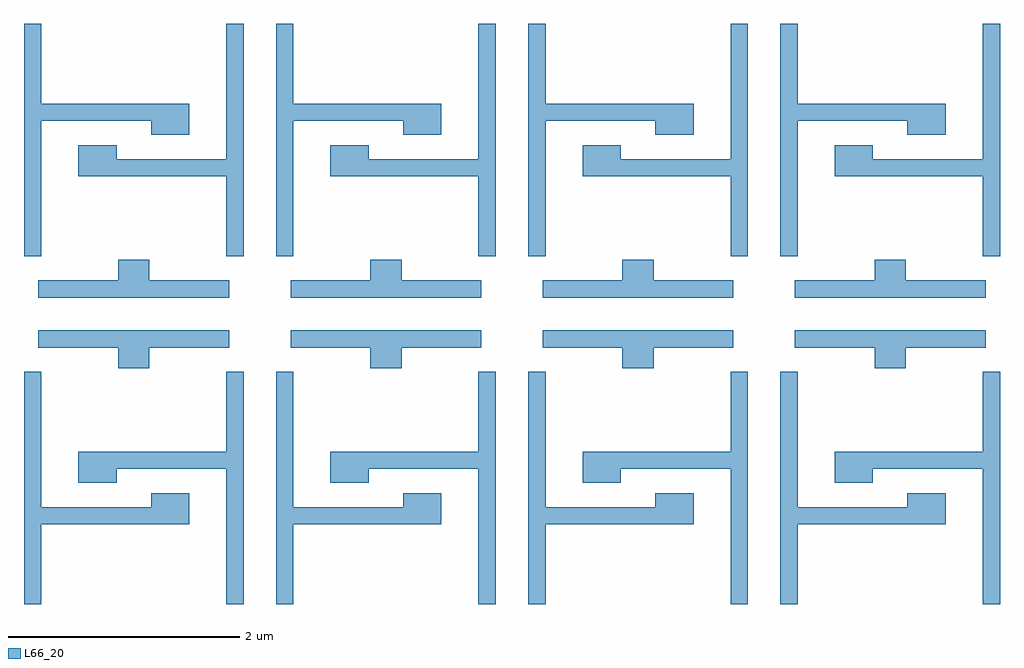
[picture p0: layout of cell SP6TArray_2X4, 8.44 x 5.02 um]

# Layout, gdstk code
import gdstk
lib = gdstk.Library(unit=1e-6, precision=1e-09)
def P(c, l, *ps):  # polygons
    for p in ps: c.add(gdstk.Polygon(p, *l))
L66_20 = (66, 20)

sp6tcell = lib.new_cell('SP6TCell')
P(sp6tcell, L66_20, [(1.89,0.5),(1.89,1.19),(0.61,1.19),(0.61,1.46),(0.94,1.46),(0.94,1.34),(1.89,1.34),(1.89,2.51),(2.04,2.51),(2.04,0.5)],
  [(0.14,0.5),(0.14,2.51),(0.29,2.51),(0.29,1.82),(1.57,1.82),(1.57,1.55),(1.24,1.55),(1.24,1.67),(0.29,1.67),(0.29,0.5)],
  [(0.265,0.14),(0.265,0.29),(0.955,0.29),(0.955,0.47),(1.225,0.47),(1.225,0.29),(1.915,0.29),(1.915,0.14)])

sp6tarray_2x1 = lib.new_cell('SP6TArray_2X1')
sp6tarray_2x1.add(gdstk.Reference(sp6tcell, (0,2.775), x_reflection=True))
sp6tarray_2x1.add(gdstk.Reference(sp6tcell, (0,2.775)))

sp6tarray_2x2 = lib.new_cell('SP6TArray_2X2')
sp6tarray_2x2.add(gdstk.Reference(sp6tarray_2x1, (0,0)))
sp6tarray_2x2.add(gdstk.Reference(sp6tarray_2x1, (2.18,0)))

sp6tarray_2x4 = lib.new_cell('SP6TArray_2X4')
sp6tarray_2x4.add(gdstk.Reference(sp6tarray_2x2, (0,0)))
sp6tarray_2x4.add(gdstk.Reference(sp6tarray_2x2, (4.36,0)))

lib.write_gds('SP6TArray_2X4.gds')
